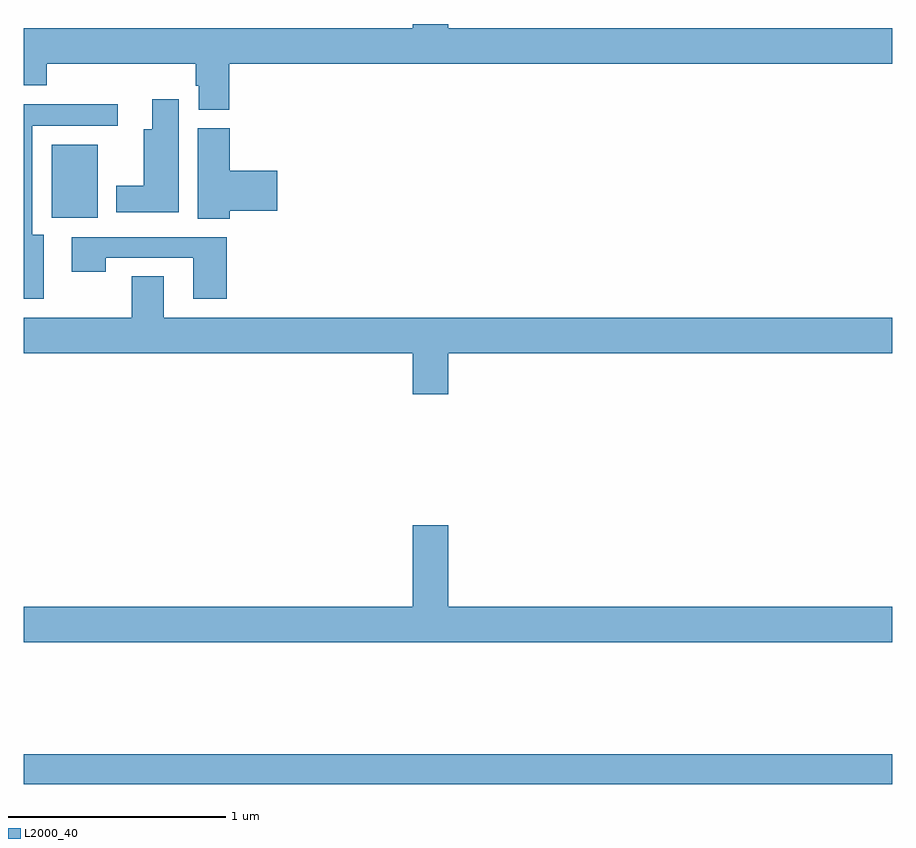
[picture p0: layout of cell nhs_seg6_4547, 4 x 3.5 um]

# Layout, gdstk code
import gdstk
lib = gdstk.Library(unit=1e-6, precision=1e-09)
def R(c, l, rs):  # rectangles x0, y0, x1, y1
    for r in rs: c.add(gdstk.rectangle(r[:2], r[2:], *l))
def P(c, l, *ps):  # polygons
    for p in ps: c.add(gdstk.Polygon(p, *l))
L2000_40 = (2000, 40)

nhs_seg6_4547 = lib.new_cell('nhs_seg6_4547')
R(nhs_seg6_4547, L2000_40, [(379,964,383,964.136), (379.13,966.608,379.342,966.943)])
P(nhs_seg6_4547, L2000_40, [(379.946,967.316),(383,967.316),(383,967.48),(380.956,967.48),(380.956,967.5),(380.792,967.5),(380.792,967.48),(379,967.48),(379,967.217),(379.106,967.217),(379.106,967.316),(379.793,967.316),(379.793,967.215),(379.805,967.215),(379.805,967.105),(379.946,967.105)],
  [(379.714,967.153),(379.592,967.153),(379.592,967.015),(379.553,967.015),(379.553,966.754),(379.427,966.754),(379.427,966.632),(379.714,966.632)],
  [(379.093,966.529),(379.039,966.529),(379.039,967.032),(379.432,967.032),(379.432,967.13),(379,967.13),(379,966.234),(379.093,966.234)],
  [(379.949,966.641),(380.167,966.641),(380.167,966.824),(379.949,966.824),(379.949,967.02),(379.802,967.02),(379.802,966.604),(379.949,966.604)],
  [(379.934,966.519),(379.221,966.519),(379.221,966.36),(379.377,966.36),(379.377,966.423),(379.781,966.423),(379.781,966.234),(379.934,966.234)],
  [(380.956,965.984),(383,965.984),(383,966.148),(379.645,966.148),(379.645,966.338),(379.498,966.338),(379.498,966.148),(379,966.148),(379,965.984),(380.792,965.984),(380.792,965.796),(380.956,965.796)],
  [(383,964.816),(380.956,964.816),(380.956,965.191),(380.792,965.191),(380.792,964.816),(379,964.816),(379,964.652),(383,964.652)])

lib.write_gds('nhs_seg6_4547.gds')
